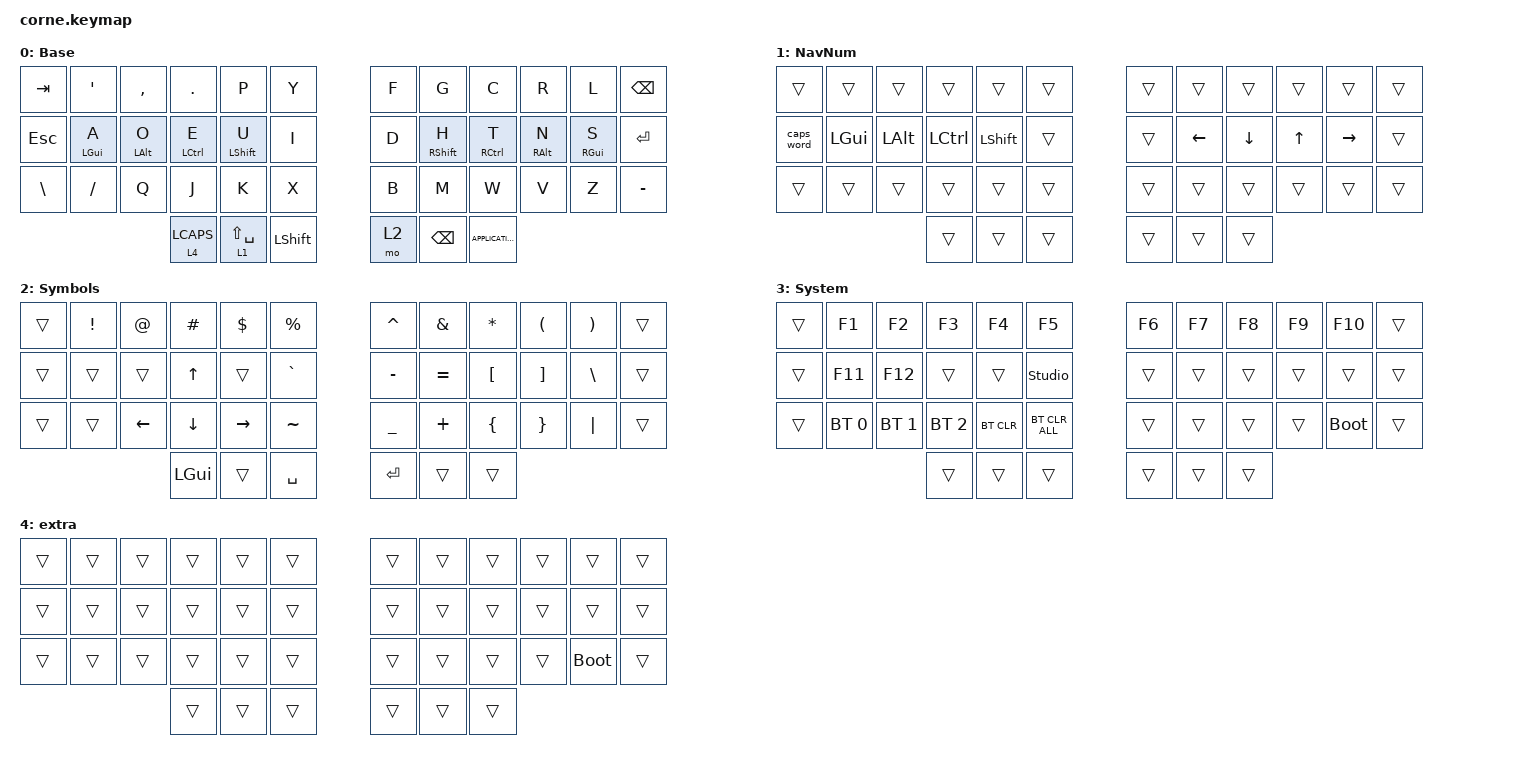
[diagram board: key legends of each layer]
#include <behaviors.dtsi>
#include <dt-bindings/zmk/bt.h>
#include <dt-bindings/zmk/keys.h>

#define DEF 0
#define NAV 1
#define SYM 2
#define ADJ 3
#define EXTRA 4

/ {
    behaviors {
        hml: homerow_mods_left {
            compatible = "zmk,behavior-hold-tap";
            label = "HOMEROW_MODS_L";
            #binding-cells = <2>;
            tapping-term-ms = <200>;
            quick_tap_ms = <0>;
            flavor = "balanced";
            bindings = <&kp>, <&kp>;

            quick-tap-ms = <175>;
            require-prior-idle-ms = <150>;
            hold-trigger-on-release;
            hold-trigger-key-positions = <6 7 8 9 10 11 18 19 20 21 22 23 30 31 32 33 34 35 39 40 41 36 37 38>;
        };

        para: para {
            compatible = "zmk,behavior-tap-dance";
            label = "PARA";
            #binding-cells = <0>;
            bindings = <&kp LEFT_PARENTHESIS>, <&kp RIGHT_PARENTHESIS>;
        };

        caps: caps {
            compatible = "zmk,behavior-caps-word";
            label = "CAPS";
            #binding-cells = <0>;
            continue-list = <MINUS BACKSPACE>;
        };

        paraless: paraless {
            compatible = "zmk,behavior-mod-morph";
            label = "PARALESS";
            bindings = <&kp LEFT_PARENTHESIS>, <&kp LESS_THAN>;

            #binding-cells = <0>;
            mods = <(MOD_LSFT)>;
        };

        paragreat: paragreat {
            compatible = "zmk,behavior-mod-morph";
            label = "PARAGREAT";
            bindings = <&kp RIGHT_PARENTHESIS>, <&kp GREATER_THAN>;

            #binding-cells = <0>;
            mods = <(MOD_LSFT)>;
        };

        hmr: homerow_mods_right {
            compatible = "zmk,behavior-hold-tap";
            label = "HOMEROW_MODS_R";
            #binding-cells = <2>;
            tapping-term-ms = <200>;
            quick_tap_ms = <0>;
            flavor = "balanced";
            bindings = <&kp>, <&kp>;

            quick-tap-ms = <175>;
            require-prior-idle-ms = <150>;
            hold-trigger-on-release;
            hold-trigger-key-positions = <39 40 41 36 37 38 0 1 2 3 4 5 12 13 14 15 17 24 25 26 27 28 29 36 37 38 16>;
        };
    };

    macros {
        browsertab: browsertab {
            compatible = "zmk,behavior-macro";
            #binding-cells = <0>;
            bindings =
                <&macro_press>,
                <&kp LCTRL>,
                <&macro_tap>,
                <&kp TAB>,
                <&macro_release>,
                <&kp LCTRL>;
        };
    };

    combos {
        compatible = "zmk,combos";

        escape {
            bindings = <&kp ESCAPE>;
            key-positions = <13 29>;
        };

        delete {
            bindings = <&kp DELETE>;
            key-positions = <15 21>;
        };

        perc {
            bindings = <&kp PERCENT>;
            key-positions = <5 17>;
        };

        equal {
            bindings = <&kp EQUAL>;
            key-positions = <28 16>;
        };

        dollar {
            bindings = <&kp DOLLAR>;
            key-positions = <4 16>;
        };

        pound {
            bindings = <&kp POUND>;
            key-positions = <3 15>;
        };

        at {
            bindings = <&kp AT>;
            key-positions = <2 14>;
        };

        backslash {
            bindings = <&kp BACKSLASH>;
            key-positions = <26 14>;
        };

        copy {
            bindings = <&kp K_COPY>;
            key-positions = <28 27>;
        };

        paste {
            bindings = <&kp K_PASTE>;
            key-positions = <26 27>;
        };

        star {
            bindings = <&kp STAR>;
            key-positions = <8 20>;
        };

        slash {
            bindings = <&kp SLASH>;
            key-positions = <32 20>;
        };

        plus {
            bindings = <&kp PLUS>;
            key-positions = <7 19>;
        };

        minus {
            bindings = <&kp KP_MINUS>;
            key-positions = <31 19>;
        };

        underscore {
            bindings = <&kp UNDER>;
            key-positions = <30 18>;
        };

        leftbrack {
            bindings = <&kp LEFT_BRACKET>;
            key-positions = <31 32>;
        };

        rightbrack {
            bindings = <&kp RIGHT_BRACKET>;
            key-positions = <33 32>;
        };

        para-less {
            bindings = <&paraless>;
            key-positions = <20 19>;
        };

        para-great {
            bindings = <&paragreat>;
            key-positions = <20 21>;
        };
    };

    //

    keymap {
        compatible = "zmk,keymap";

        DEF {
            display-name = "Base";

            // -----------------------------------------------------------------------------------------
            // |  Q  |  W  |  E  |  R  |  T  |   |  Y  |  U   |  I  |  O  |  P  |
            // |  A  |  S  |  D  |  F  |  G  |   |  H  |  J   |  K  |  L  |  ;  |
            // |  Z  |  X  |  C  |  V  |  B  |   |  N  |  M   |  ,  |  .  |  /  |
            // | GUI | CTRL | SHFT | LWR | SPC |   | ENT | RSE  | BKSP | ALT | ESC |

            bindings = <
&kp TAB        &kp SQT      &kp COMMA        &kp DOT       &kp P            &kp Y        &kp F  &kp G         &kp C              &kp R        &kp L        &kp BACKSPACE
&kp ESCAPE     &hml LGUI A  &hml LEFT_ALT O  &hml LCTRL E  &hml LSHFT U     &kp I        &kp D  &hmr RSHFT H  &hmr RCTRL T       &hmr RALT N  &hmr RGUI S  &kp RETURN
&kp BACKSLASH  &kp FSLH     &kp Q            &kp J         &kp K            &kp X        &kp B  &kp M         &kp W              &kp V        &kp Z        &kp MINUS
                                             &lt 4 LCAPS   &lt 1 LS(SPACE)  &kp LSHFT    &mo 2  &kp BSPC      &kp K_APPLICATION
            >;
        };

        NAV {
            display-name = "NavNum";

            // -----------------------------------------------------------------------------------------
            // |  TAB |  1  |  2  |  3  |  4  |  5  |   |  6  |  7  |  8  |  9  |  0  | BKSP |
            // | BTCLR| BT1 | BT2 | BT3 | BT4 | BT5 |   | LFT | DWN |  UP | RGT |     |      |
            // | SHFT |     |     |     |     |     |   |     |     |     |     |     |      |
            // | GUI | CTRL | SHFT | LWR | SPC |   | ENT | RSE  | BKSP | ALT | ESC |

            bindings = <
&trans      &trans    &trans        &trans     &trans     &trans    &trans  &trans    &trans          &trans        &trans     &trans
&caps_word  &kp LGUI  &kp LEFT_ALT  &kp LCTRL  &kp LSHFT  &trans    &trans  &kp LEFT  &kp DOWN_ARROW  &kp UP_ARROW  &kp RIGHT  &trans
&trans      &trans    &trans        &trans     &trans     &trans    &trans  &trans    &trans          &trans        &trans     &trans
                                    &trans     &trans     &trans    &trans  &trans    &trans
            >;
        };

        SYM {
            display-name = "Symbols";

            // -----------------------------------------------------------------------------------------
            // |  TAB |  !  |  @  |  #  |  $  |  %  |   |  ^  |  &  |  *  |  (  |  )  | BKSP |
            // | CTRL |     |     |     |     |     |   |  -  |  =  |  [  |  ]  |  \  |  `   |
            // | SHFT |     |     |     |     |     |   |  _  |  +  |  {  |  }  | "|" |  ~   |
            //                    | GUI |     | SPC |   | ENT |     | ALT |

            bindings = <
&trans  &kp EXCL  &kp AT          &kp HASH        &kp DLLR         &kp PRCNT    &kp CARET  &kp AMPS   &kp ASTRK  &kp LEFT_PARENTHESIS  &kp RPAR  &trans
&trans  &trans    &trans          &kp UP_ARROW    &trans           &kp GRAVE    &kp MINUS  &kp EQUAL  &kp LBKT   &kp RBKT              &kp BSLH  &trans
&trans  &trans    &kp LEFT_ARROW  &kp DOWN_ARROW  &kp RIGHT_ARROW  &kp TILDE    &kp UNDER  &kp PLUS   &kp LBRC   &kp RBRC              &kp PIPE  &trans
                                  &kp LGUI        &trans           &kp SPACE    &kp RET    &trans     &trans
            >;
        };

        ADJ {
            display-name = "System";
            bindings = <
&trans  &kp F1        &kp F2        &kp F3        &kp F4      &kp F5            &kp F6  &kp F7  &kp F8  &kp F9  &kp F10      &trans
&trans  &kp F11       &kp F12       &trans        &trans      &studio_unlock    &trans  &trans  &trans  &trans  &trans       &trans
&trans  &bt BT_SEL 0  &bt BT_SEL 1  &bt BT_SEL 2  &bt BT_CLR  &bt BT_CLR_ALL    &trans  &trans  &trans  &trans  &bootloader  &trans
                                    &trans        &trans      &trans            &trans  &trans  &trans
            >;
        };

        EXTRA {
            display-name = "extra";
            bindings = <
&trans  &trans  &trans  &trans  &trans  &trans    &trans  &trans  &trans  &trans  &trans       &trans
&trans  &trans  &trans  &trans  &trans  &trans    &trans  &trans  &trans  &trans  &trans       &trans
&trans  &trans  &trans  &trans  &trans  &trans    &trans  &trans  &trans  &trans  &bootloader  &trans
                        &trans  &trans  &trans    &trans  &trans  &trans
            >;
        };
    };

    conditional_layers {
        compatible = "zmk,conditional-layers";

        l3 {
            if-layers = <1 2>;
            then-layer = <3>;
        };
    };
};
